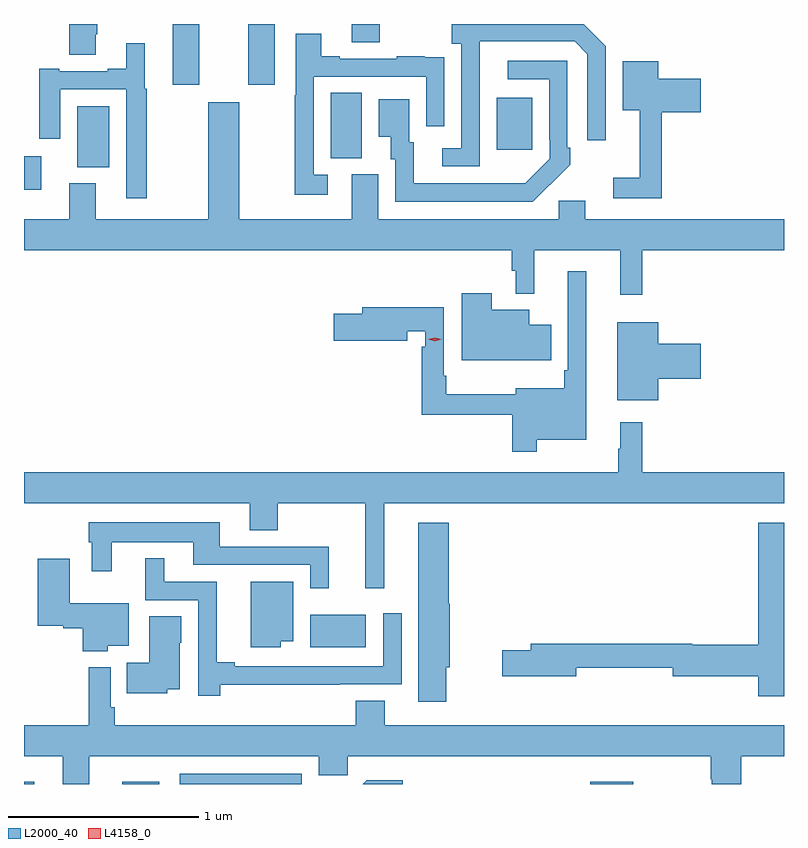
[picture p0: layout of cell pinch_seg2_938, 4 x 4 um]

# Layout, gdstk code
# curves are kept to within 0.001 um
import gdstk
lib = gdstk.Library(unit=1e-6, precision=1e-09)
def R(c, l, rs):  # rectangles x0, y0, x1, y1
    for r in rs: c.add(gdstk.rectangle(r[:2], r[2:], *l))
def P(c, l, *ps):  # polygons
    for p in ps: c.add(gdstk.Polygon(p, *l))
L2000_40 = (2000, 40)
L4158_0 = (4158, 0)

pinch_seg2_938 = lib.new_cell('pinch_seg2_938')
R(pinch_seg2_938, L2000_40, [(335.756,646.159,335.809,646.171), (336.273,646.159,336.469,646.171), (336.576,646.159,337.218,646.212), (338.737,646.159,338.962,646.171), (337.262,646.88,337.555,647.05), (335.756,649.286,335.848,649.462), (336.035,649.406,336.205,649.726), (337.37,649.453,337.534,649.796), (338.243,649.497,338.431,649.771), (336.539,649.839,336.679,650.159), (336.935,649.839,337.075,650.159), (337.481,650.062,337.629,650.159)])
P(pinch_seg2_938, L2000_40, [(336.133,650.104),(336.141,650.104),(336.141,650.159),(335.993,650.159),(335.993,649.996),(336.133,649.996)],
  [(338.154,649.867),(338.155,650.067),(338.655,650.067),(338.721,650.001),(338.721,649.548),(338.817,649.548),(338.817,650.043),(338.701,650.159),(338.007,650.159),(338.007,650.054),(338.058,650.054),(338.058,649.506),(337.956,649.506),(337.956,649.41),(338.154,649.41)],
  [(337.354,649.365),(337.281,649.365),(337.281,649.881),(337.872,649.881),(337.872,649.62),(337.968,649.62),(337.968,649.874),(337.967,649.874),(337.967,649.983),(337.865,649.983),(337.865,649.99),(337.717,649.99),(337.717,649.977),(337.417,649.977),(337.417,649.99),(337.321,649.99),(337.321,650.107),(337.185,650.107),(337.185,649.784),(337.18,649.784),(337.18,649.26),(337.354,649.26)],
  [(336.403,649.818),(336.391,649.818),(336.391,650.059),(336.293,650.059),(336.293,649.924),(336.197,649.924),(336.197,649.911),(335.941,649.911),(335.941,649.924),(335.837,649.924),(335.837,649.554),(335.947,649.554),(335.947,649.815),(336.294,649.815),(336.294,649.242),(336.403,649.242)],
  [(338.525,649.315),(338.526,649.314),(338.631,649.419),(338.631,649.507),(338.616,649.507),(338.616,649.965),(338.301,649.965),(338.301,649.869),(338.52,649.869),(338.52,649.549),(338.523,649.549),(338.523,649.449),(338.395,649.321),(337.807,649.32),(337.807,649.536),(337.783,649.536),(337.783,649.762),(337.622,649.762),(337.622,649.565),(337.685,649.565),(337.685,649.446),(337.71,649.446),(337.71,649.224),(338.434,649.224)],
  [(339.113,649.694),(339.319,649.694),(339.319,649.872),(339.094,649.872),(339.094,649.963),(338.906,649.963),(338.906,649.706),(338.996,649.706),(338.996,649.351),(338.856,649.351),(338.856,649.242),(339.113,649.242)],
  [(339.011,648.968),(339.756,648.968),(339.756,649.132),(338.71,649.132),(338.71,649.23),(338.571,649.23),(338.571,649.132),(337.621,649.132),(337.621,649.368),(337.481,649.368),(337.481,649.132),(336.889,649.132),(336.889,649.747),(336.725,649.747),(336.725,649.132),(336.133,649.132),(336.133,649.321),(335.993,649.321),(335.993,649.132),(335.756,649.132),(335.756,648.968),(338.323,648.968),(338.323,648.861),(338.343,648.861),(338.343,648.74),(338.441,648.74),(338.441,648.968),(338.894,648.968),(338.894,648.735),(339.011,648.735)],
  [(338.455,647.972),(338.716,647.972),(338.716,648.859),(338.619,648.859),(338.619,648.337),(338.599,648.337),(338.599,648.241),(338.345,648.241),(338.345,648.211),(337.978,648.211),(337.978,648.307),(337.965,648.307),(337.965,648.667),(337.535,648.667),(337.535,648.633),(337.386,648.633),(337.386,648.491),(337.774,648.491),(337.774,648.542),(337.869,648.542),(337.869,648.461),(337.849,648.461),(337.849,648.102),(338.326,648.102),(338.326,647.907),(338.455,647.907)],
  [(338.53,648.577),(338.416,648.577),(338.416,648.655),(338.218,648.655),(338.218,648.742),(338.06,648.742),(338.06,648.389),(338.53,648.389)],
  [(339.094,648.293),(339.319,648.293),(339.319,648.476),(339.094,648.476),(339.094,648.589),(338.879,648.589),(338.879,648.179),(339.094,648.179)],
  [(339.756,647.8),(339.011,647.8),(339.011,648.064),(338.894,648.064),(338.894,647.924),(338.883,647.924),(338.883,647.8),(335.756,647.8),(335.756,647.636),(336.944,647.636),(336.944,647.494),(337.092,647.494),(337.092,647.636),(337.553,647.636),(337.553,647.19),(337.652,647.19),(337.652,647.636),(339.756,647.636)],
  [(337.361,647.409),(336.787,647.409),(336.787,647.536),(336.096,647.536),(336.096,647.431),(336.113,647.431),(336.113,647.28),(336.217,647.28),(336.217,647.432),(336.647,647.432),(336.647,647.313),(337.263,647.313),(337.263,647.19),(337.361,647.19)],
  [(339.756,647.533),(339.62,647.533),(339.62,646.892),(339.274,646.892),(339.274,646.898),(338.423,646.898),(338.423,646.862),(338.274,646.862),(338.274,646.727),(338.662,646.727),(338.662,646.77),(339.17,646.77),(339.17,646.727),(339.62,646.727),(339.62,646.622),(339.756,646.622)],
  [(337.978,646.773),(337.996,646.773),(337.996,647.109),(337.991,647.109),(337.991,647.533),(337.832,647.533),(337.832,646.593),(337.978,646.593)],
  [(336.788,646.682),(337.418,646.682),(337.418,646.683),(337.743,646.683),(337.743,647.059),(337.647,647.059),(337.647,646.779),(336.865,646.779),(336.865,646.799),(336.77,646.799),(336.77,647.223),(336.493,647.223),(336.493,647.347),(336.395,647.347),(336.395,647.127),(336.672,647.127),(336.672,646.623),(336.788,646.623)],
  [(336.198,646.886),(336.307,646.886),(336.307,647.11),(335.998,647.11),(335.998,647.344),(335.828,647.344),(335.828,646.991),(335.963,646.991),(335.963,646.979),(336.065,646.979),(336.065,646.859),(336.198,646.859)],
  [(337.108,646.91),(337.174,646.91),(337.174,647.224),(336.95,647.224),(336.95,646.88),(337.108,646.88)],
  [(336.51,646.658),(336.577,646.658),(336.577,646.902),(336.583,646.902),(336.583,647.042),(336.416,647.042),(336.416,646.798),(336.298,646.798),(336.298,646.637),(336.51,646.637)],
  [(336.1,646.304),(337.307,646.304),(337.307,646.206),(337.459,646.206),(337.459,646.304),(339.37,646.304),(339.37,646.184),(339.377,646.184),(339.377,646.159),(339.53,646.159),(339.53,646.304),(339.756,646.304),(339.756,646.468),(337.654,646.468),(337.654,646.598),(337.502,646.598),(337.502,646.468),(336.233,646.468),(336.233,646.564),(336.213,646.564),(336.213,646.774),(336.097,646.774),(336.097,646.468),(335.756,646.468),(335.756,646.304),(335.96,646.304),(335.96,646.159),(336.1,646.159)],
  [(337.75,646.179),(337.56,646.179),(337.54,646.159),(337.75,646.159)])
P(pinch_seg2_938, L4158_0, [(337.918,648.489),(337.883,648.499),(337.883,648.499),(337.883,648.499),(337.918,648.509),(337.954,648.499),(337.954,648.499),(337.954,648.499)])

lib.write_gds('pinch_seg2_938.gds')
